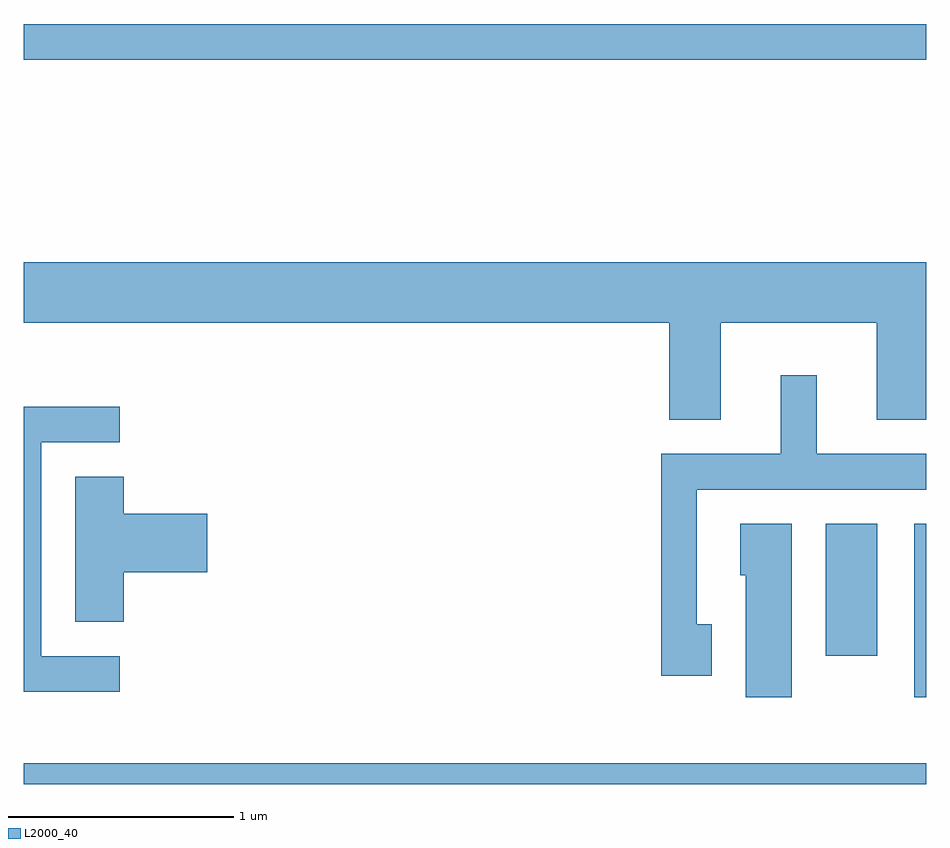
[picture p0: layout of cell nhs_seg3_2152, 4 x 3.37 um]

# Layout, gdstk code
import gdstk
lib = gdstk.Library(unit=1e-6, precision=1e-09)
def R(c, l, rs):  # rectangles x0, y0, x1, y1
    for r in rs: c.add(gdstk.rectangle(r[:2], r[2:], *l))
def P(c, l, *ps):  # polygons
    for p in ps: c.add(gdstk.Polygon(p, *l))
L2000_40 = (2000, 40)

nhs_seg3_2152 = lib.new_cell('nhs_seg3_2152')
R(nhs_seg3_2152, L2000_40, [(247.611,1203.892,251.611,1203.984), (251.556,1204.276,251.611,1205.044), (251.166,1204.461,251.394,1205.044), (247.611,1207.101,251.611,1207.259)])
P(nhs_seg3_2152, L2000_40, [(250.699,1205.936),(251.391,1205.936),(251.391,1205.506),(251.611,1205.506),(251.611,1206.204),(247.611,1206.204),(247.611,1205.936),(250.471,1205.936),(250.471,1205.506),(250.699,1205.506)],
  [(250.659,1204.599),(250.594,1204.599),(250.594,1205.196),(251.611,1205.196),(251.611,1205.354),(251.124,1205.354),(251.124,1205.703),(250.966,1205.703),(250.966,1205.354),(250.436,1205.354),(250.436,1204.371),(250.659,1204.371)],
  [(248.038,1204.459),(247.689,1204.459),(247.689,1205.406),(248.038,1205.406),(248.038,1205.564),(247.611,1205.564),(247.611,1204.301),(248.038,1204.301)],
  [(248.054,1204.831),(248.424,1204.831),(248.424,1205.089),(248.054,1205.089),(248.054,1205.254),(247.841,1205.254),(247.841,1204.611),(248.054,1204.611)],
  [(251.014,1205.044),(250.786,1205.044),(250.786,1204.816),(250.811,1204.816),(250.811,1204.276),(251.014,1204.276)])

lib.write_gds('nhs_seg3_2152.gds')
